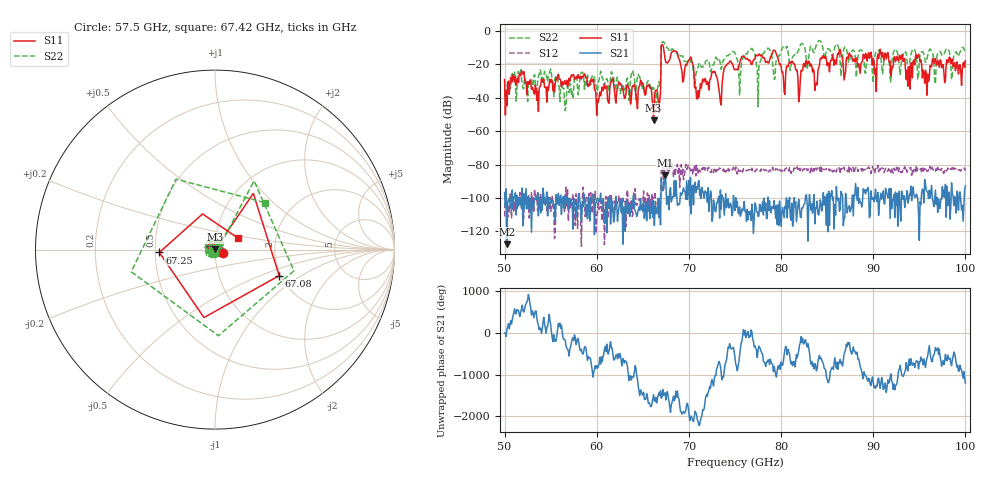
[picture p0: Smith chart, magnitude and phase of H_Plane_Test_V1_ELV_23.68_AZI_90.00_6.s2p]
! 11/27/2026 8:04:49 AM
! C:\ANRITSUVNA\TEMP\TEMP.S2P
! CHANNEL.1
! TR.MEASUREMENT
! RAW.DATA
# HZ S RI R 50.0
! FREQ.HZ  S11RE  S11IM  S21RE  S21IM  S12RE  S12IM  S22RE  S22IM
!; PortSelection: Port_12
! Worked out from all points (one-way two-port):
!   601 points, 50 GHz to 100 GHz, reference 50 ohm
!   highest |S21| = -86.49 dB at 67.42 GHz (marker M1); lowest = -127.7 dB at 50.25 GHz (marker M2)
!   lowest |S11| = -53.5 dB at 66.17 GHz (marker M3), VSWR 1.00, Z = 50.1 + j0.166 ohm
!   |S11| at or under -10 dB: start of sweep to 67 GHz; 67.24 GHz to end of sweep
!   |S22| runs from -47.6 to -5.6 dB; largest |S21 - S12| = 0.00013
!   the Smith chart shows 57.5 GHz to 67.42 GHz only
!   S11 on the Smith chart (normalised r, x): 57.5 GHz: 1.09, -0.04; 67.08 GHz: 1.96, -0.67; 67.25 GHz: 0.53, -0.02; 67.42 GHz: 1.28, +0.17
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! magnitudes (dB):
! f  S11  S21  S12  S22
! 50 GHz  -29.0  -96.8  -111.1  -35.7
! 50.25 GHz  -44.6  -127.7  -107.5  -34.2
! 51.67 GHz  -26.2  -104.0  -96.8  -23.1
! 57.5 GHz  -26.1  -100.4  -100.6  -34.4
! 58.42 GHz  -27.1  -103.9  -102.3  -24.6
! 60.17 GHz  -42.6  -101.1  -101.1  -30.2
! 66.17 GHz  -53.5  -101.6  -100.0  -33.8
! 66.67 GHz  -41.7  -100.2  -101.1  -31.6
! 67.08 GHz  -8.3  -93.9  -83.6  -6.8
! 67.25 GHz  -10.2  -93.2  -95.4  -6.3
! 67.42 GHz  -16.8  -86.5  -79.8  -8.4
! 70.25 GHz  -16.0  -109.5  -82.0  -18.8
! 70.92 GHz  -40.7  -94.8  -82.4  -22.9
! 75 GHz  -23.1  -107.5  -83.8  -13.1
! 79.25 GHz  -11.4  -101.6  -83.3  -29.0
! 80.25 GHz  -27.8  -108.8  -82.7  -9.3
! 83.42 GHz  -24.5  -109.1  -84.2  -10.9
! 91.67 GHz  -16.6  -98.3  -82.4  -15.3
! 93.75 GHz  -33.0  -103.1  -83.0  -21.7
! 94.83 GHz  -14.9  -100.7  -82.0  -28.6
! 95.83 GHz  -38.4  -96.3  -83.9  -16.4
! 100 GHz  -17.8  -92.7  -82.3  -12.6
